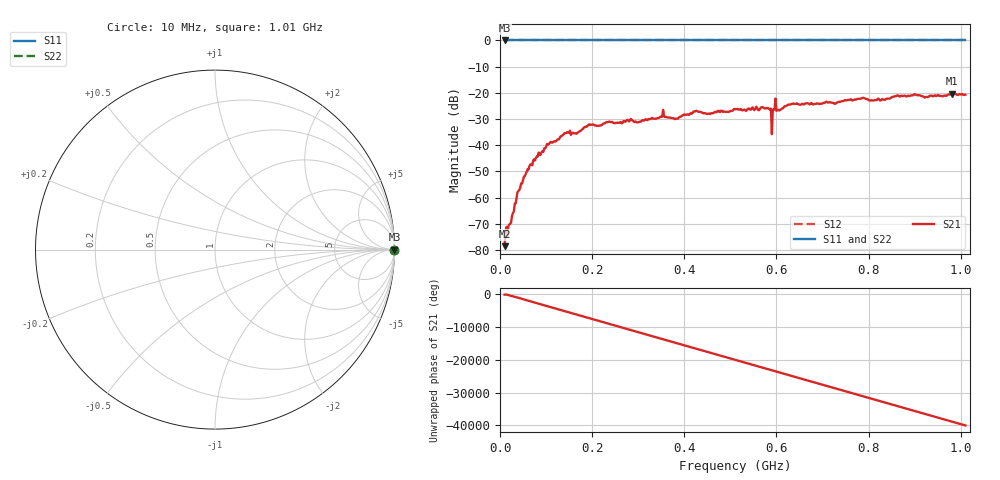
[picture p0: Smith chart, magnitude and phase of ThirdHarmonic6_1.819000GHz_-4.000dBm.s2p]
! 8/16/2025 10:02:32 PM
! C:\ANRITSUVNA\TEMP\TEMP.S2P
! CHANNEL.1
! TR.MEASUREMENT
! RAW.DATA
! RF.CORRECTION.OFF
! AVERAGING.OFF
! IF.BANDWIDTH: 5KHZ
! SWEEPTYPE:  FREQ.SWEEP(Linear)
! Reference Plane Port Info
! PORT:  PORT1  PORT2
! DISTANCE:  0  m  0  m
! TIME:  0  s  0  s
! PHASE.OFFSET:  0  deg.  0  deg.
! LOSS:  0  dB  0  dB
! REF.LOSS:  0  dB  0  dB
! REF.FREQ:  0  Hz  0  Hz
! Power Info
! POWER:  -20  dBm  -20  dBm
! EFF.POWER:  -20  dBm  -20  dBm
! SOURCE.ATTEN:  0  dB  0  dB
! TEST.ATTEN:  0  dB  0  dB
# GHZ S RI R 50.0
! FREQ.GHZ  S11RE  S11IM  S21RE  S21IM  S12RE  S12IM  S22RE  S22IM
!; PortSelection: Port_12
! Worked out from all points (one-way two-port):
!   501 points, 10 MHz to 1.01 GHz, reference 50 ohm
!   highest |S21| = -20.35 dB at 980 MHz (marker M1); lowest = -78.6 dB at 10 MHz (marker M2)
!   lowest |S11| = 0.0 dB at 10 MHz (marker M3)
!   |S11| at or under -10 dB: nowhere
!   |S22| runs from 0.0 to 0.0 dB; largest |S21 - S12| = 1.1
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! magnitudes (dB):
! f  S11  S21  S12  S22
! 10 MHz  0.0  -78.6  0.0  0.0
! 26 MHz  0.0  -67.1  0.0  0.0
! 42 MHz  0.0  -57.1  0.0  0.0
! 64 MHz  0.0  -47.9  0.0  0.0
! 106 MHz  0.0  -39.6  0.0  0.0
! 142 MHz  0.0  -35.4  0.0  0.0
! 178 MHz  0.0  -34.0  0.0  0.0
! 196 MHz  0.0  -32.2  0.0  0.0
! 344 MHz  0.0  -29.7  0.0  0.0
! 382 MHz  0.0  -29.9  0.0  0.0
! 510 MHz  0.0  -26.2  0.0  0.0
! 570 MHz  0.0  -25.5  0.0  0.0
! 584 MHz  0.0  -26.2  0.0  0.0
! 586 MHz  0.0  -26.4  0.0  0.0
! 590 MHz  0.0  -35.8  0.0  0.0
! 596 MHz  0.0  -26.2  0.0  0.0
! 604 MHz  0.0  -26.5  0.0  0.0
! 632 MHz  0.0  -24.3  0.0  0.0
! 678 MHz  0.0  -24.3  0.0  0.0
! 844 MHz  0.0  -22.2  0.0  0.0
! 980 MHz  0.0  -20.4  0.0  0.0
! 1.01 GHz  0.0  -20.7  0.0  0.0
